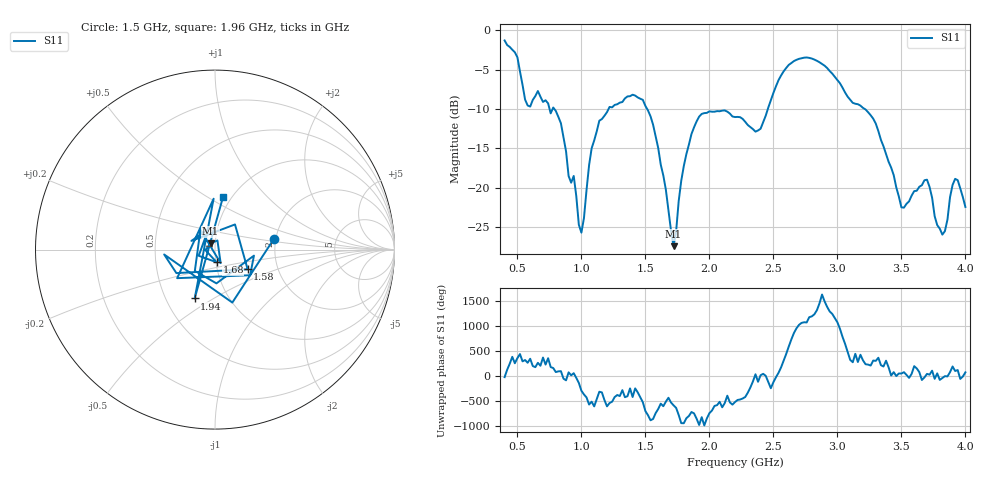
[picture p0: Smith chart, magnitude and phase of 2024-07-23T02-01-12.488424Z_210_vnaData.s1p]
!Created with skrf (http://scikit-rf.org).
# Hz S RI R 50.0
!freq ReS11 ImS11
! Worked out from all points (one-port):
!   181 points, 400 MHz to 4 GHz, reference 50 ohm
!   lowest |S11| = -27.4 dB at 1.72 GHz (marker M1), VSWR 1.09, Z = 47.5 + j3.28 ohm
!   |S11| at or under -10 dB: 789.4 MHz to 1.212 GHz (422.2 MHz wide, 42.2 % of centre); 1.514 GHz to 2.456 GHz (941.9 MHz wide, 47.4 % of centre); 3.215 GHz to end of sweep (the widest 3 of 4)
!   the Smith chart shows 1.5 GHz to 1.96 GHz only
!   S11 on the Smith chart (normalised r, x): 1.5 GHz: 1.95, +0.25; 1.58 GHz: 1.40, -0.32; 1.68 GHz: 1.01, -0.14; 1.94 GHz: 0.70, -0.41; 1.96 GHz: 0.91, +0.59
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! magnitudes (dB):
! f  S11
! 400 MHz  -1.3
! 500 MHz  -3.4
! 580 MHz  -9.5
! 660 MHz  -7.7
! 860 MHz  -13.6
! 1 GHz  -25.7
! 1.08 GHz  -15.0
! 1.14 GHz  -11.5
! 1.3 GHz  -9.2
! 1.5 GHz  -9.6
! 1.58 GHz  -13.5
! 1.68 GHz  -22.9
! 1.72 GHz  -27.4
! 1.76 GHz  -21.7
! 1.86 GHz  -13.2
! 1.94 GHz  -10.6
! 1.96 GHz  -10.5
! 2.2 GHz  -11.0
! 2.4 GHz  -12.5
! 2.66 GHz  -3.9
! 3.1 GHz  -8.8
! 3.28 GHz  -11.2
! 3.5 GHz  -22.5
! 3.56 GHz  -21.7
! 3.7 GHz  -19.0
! 3.82 GHz  -26.0
! 3.92 GHz  -18.9
! 4 GHz  -22.4
